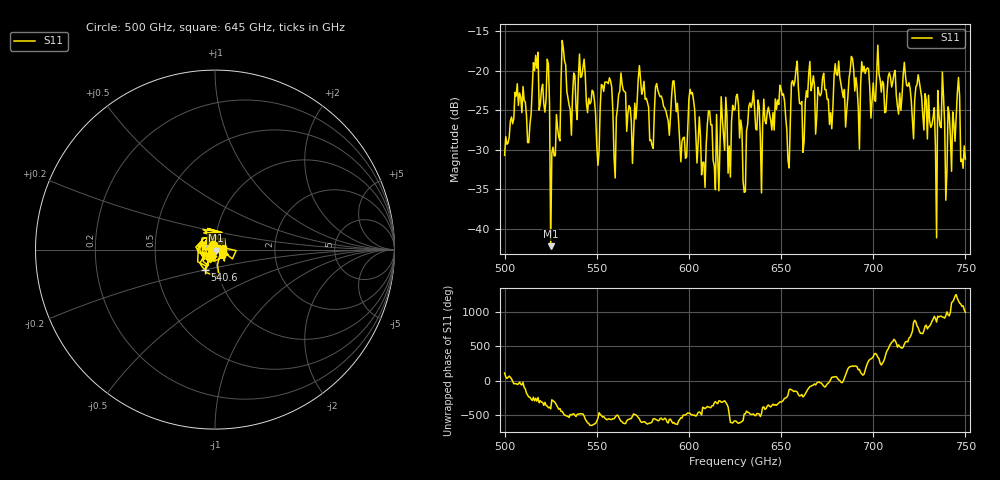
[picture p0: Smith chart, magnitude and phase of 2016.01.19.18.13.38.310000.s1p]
!Created with skrf (http://scikit-rf.org).
# GHz S RI R 50.0
!freq ReS11 ImS11
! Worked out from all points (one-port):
!   401 points, 500 GHz to 750 GHz, reference 50 ohm
!   lowest |S11| = -42.2 dB at 525 GHz (marker M1), VSWR 1.02, Z = 50.6 - j0.533 ohm
!   |S11| at or under -10 dB: start of sweep to end of sweep
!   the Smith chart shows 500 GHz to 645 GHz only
!   S11 on the Smith chart (normalised r, x): 500 GHz: 0.97, +0.05; 540.6 GHz: 0.87, -0.20; 645 GHz: 1.09, +0.01
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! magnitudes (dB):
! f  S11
! 500 GHz  -30.7
! 506.9 GHz  -21.7
! 513.1 GHz  -29.1
! 516.9 GHz  -18.1
! 525 GHz  -42.2
! 526.2 GHz  -29.7
! 531.2 GHz  -16.2
! 540.6 GHz  -17.9
! 550.6 GHz  -32.0
! 553.8 GHz  -22.6
! 560 GHz  -33.6
! 562.5 GHz  -22.6
! 593.8 GHz  -24.1
! 597.5 GHz  -28.4
! 601.9 GHz  -22.8
! 608.1 GHz  -31.6
! 625 GHz  -24.9
! 630 GHz  -35.4
! 633.8 GHz  -24.7
! 645 GHz  -27.5
! 650.6 GHz  -23.1
! 653.8 GHz  -31.3
! 656.2 GHz  -21.3
! 687.5 GHz  -20.0
! 718.8 GHz  -22.0
! 733.1 GHz  -24.7
! 745.6 GHz  -22.9
! 750 GHz  -31.2
